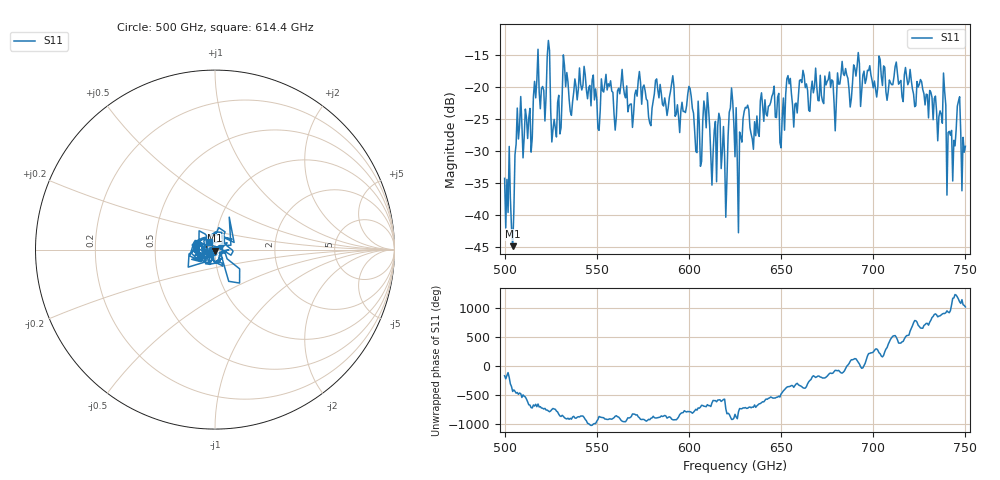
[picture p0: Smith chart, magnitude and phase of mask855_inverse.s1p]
!Created with skrf (http://scikit-rf.org).
# GHz S MA R 50.0
!freq magS11 angS11
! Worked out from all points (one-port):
!   401 points, 500 GHz to 750 GHz, reference 50 ohm
!   lowest |S11| = -44.9 dB at 504.4 GHz (marker M1), VSWR 1.01, Z = 50.1 - j0.553 ohm
!   |S11| at or under -10 dB: start of sweep to end of sweep
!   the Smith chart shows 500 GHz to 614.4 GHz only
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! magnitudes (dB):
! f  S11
! 500 GHz  -34.3
! 504.4 GHz  -44.9
! 507.5 GHz  -28.1
! 513.8 GHz  -23.4
! 516.9 GHz  -21.7
! 523.8 GHz  -12.7
! 526.9 GHz  -25.1
! 531.2 GHz  -21.1
! 562.5 GHz  -21.1
! 579.4 GHz  -26.1
! 590.6 GHz  -19.4
! 593.8 GHz  -22.8
! 600.6 GHz  -20.2
! 605.6 GHz  -25.8
! 609.4 GHz  -26.4
! 612.5 GHz  -35.4
! 617.5 GHz  -32.8
! 619.4 GHz  -31.0
! 622.5 GHz  -23.3
! 625 GHz  -30.9
! 627.5 GHz  -27.0
! 631.2 GHz  -23.3
! 635 GHz  -29.8
! 656.2 GHz  -22.9
! 687.5 GHz  -23.1
! 690.6 GHz  -18.3
! 718.8 GHz  -19.6
! 750 GHz  -29.3
